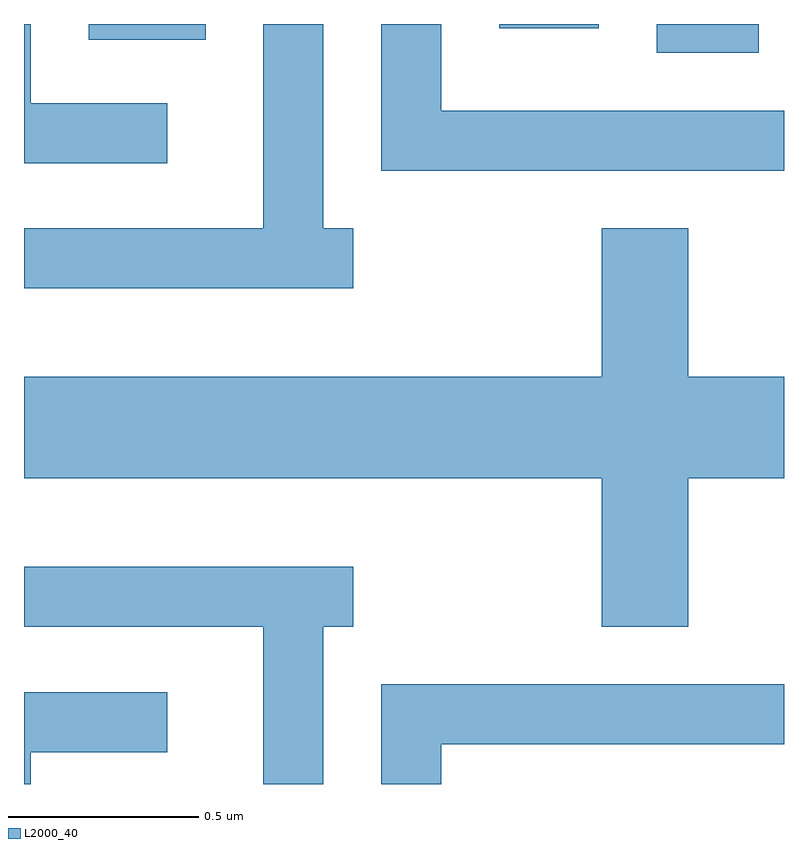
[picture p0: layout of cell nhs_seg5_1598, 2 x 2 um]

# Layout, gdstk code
import gdstk
lib = gdstk.Library(unit=1e-6, precision=1e-09)
def R(c, l, rs):  # rectangles x0, y0, x1, y1
    for r in rs: c.add(gdstk.rectangle(r[:2], r[2:], *l))
def P(c, l, *ps):  # polygons
    for p in ps: c.add(gdstk.Polygon(p, *l))
L2000_40 = (2000, 40)

nhs_seg5_1598 = lib.new_cell('nhs_seg5_1598')
R(nhs_seg5_1598, L2000_40, [(198.276,1488.996,198.544,1489.072), (196.781,1489.031,197.089,1489.072), (197.861,1489.061,198.124,1489.072)])
P(nhs_seg5_1598, L2000_40, [(196.988,1488.864),(196.629,1488.864),(196.629,1489.072),(196.611,1489.072),(196.611,1488.706),(196.988,1488.706)],
  [(197.478,1488.534),(197.399,1488.534),(197.399,1489.072),(197.241,1489.072),(197.241,1488.534),(196.611,1488.534),(196.611,1488.376),(197.478,1488.376)],
  [(198.611,1488.844),(197.709,1488.844),(197.709,1489.072),(197.551,1489.072),(197.551,1488.686),(198.611,1488.686)],
  [(198.359,1487.876),(198.611,1487.876),(198.611,1488.144),(198.359,1488.144),(198.359,1488.534),(198.131,1488.534),(198.131,1488.144),(196.611,1488.144),(196.611,1487.876),(198.131,1487.876),(198.131,1487.486),(198.359,1487.486)],
  [(197.399,1487.486),(197.478,1487.486),(197.478,1487.644),(196.611,1487.644),(196.611,1487.486),(197.241,1487.486),(197.241,1487.072),(197.399,1487.072)],
  [(197.709,1487.176),(198.611,1487.176),(198.611,1487.334),(197.551,1487.334),(197.551,1487.072),(197.709,1487.072)],
  [(196.629,1487.156),(196.988,1487.156),(196.988,1487.314),(196.611,1487.314),(196.611,1487.072),(196.629,1487.072)])

lib.write_gds('nhs_seg5_1598.gds')
